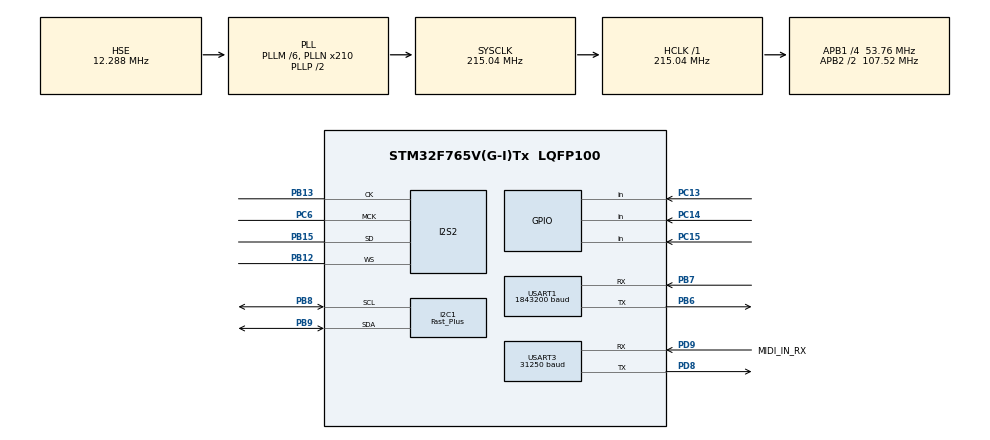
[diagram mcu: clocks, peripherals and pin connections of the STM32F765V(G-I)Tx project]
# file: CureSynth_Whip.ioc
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CORTEX_M7.CPU_DCache=Enabled
CORTEX_M7.CPU_ICache=Enabled
CORTEX_M7.FlashInterface=AXI_Enabled
CORTEX_M7.PREFETCH_ENABLE=0
Dma.I2C1_TX.0.Direction=DMA_MEMORY_TO_PERIPH
Dma.I2C1_TX.0.FIFOMode=DMA_FIFOMODE_ENABLE
Dma.I2C1_TX.0.FIFOThreshold=DMA_FIFO_THRESHOLD_HALFFULL
Dma.I2C1_TX.0.Instance=DMA1_Stream6
Dma.I2C1_TX.0.MemBurst=DMA_MBURST_SINGLE
Dma.I2C1_TX.0.MemDataAlignment=DMA_MDATAALIGN_BYTE
Dma.I2C1_TX.0.MemInc=DMA_MINC_ENABLE
Dma.I2C1_TX.0.Mode=DMA_NORMAL
Dma.I2C1_TX.0.PeriphBurst=DMA_PBURST_SINGLE
Dma.I2C1_TX.0.PeriphDataAlignment=DMA_PDATAALIGN_BYTE
Dma.I2C1_TX.0.PeriphInc=DMA_PINC_DISABLE
Dma.I2C1_TX.0.Priority=DMA_PRIORITY_MEDIUM
Dma.Request0=I2C1_TX
Dma.Request1=SPI2_TX
Dma.SPI2_TX.1.Direction=DMA_MEMORY_TO_PERIPH
Dma.SPI2_TX.1.FIFOMode=DMA_FIFOMODE_ENABLE
Dma.SPI2_TX.1.FIFOThreshold=DMA_FIFO_THRESHOLD_HALFFULL
Dma.SPI2_TX.1.Instance=DMA1_Stream4
Dma.SPI2_TX.1.MemBurst=DMA_MBURST_SINGLE
Dma.SPI2_TX.1.MemDataAlignment=DMA_MDATAALIGN_HALFWORD
Dma.SPI2_TX.1.MemInc=DMA_MINC_ENABLE
Dma.SPI2_TX.1.Mode=DMA_CIRCULAR
Dma.SPI2_TX.1.PeriphBurst=DMA_PBURST_SINGLE
Dma.SPI2_TX.1.PeriphDataAlignment=DMA_PDATAALIGN_HALFWORD
Dma.SPI2_TX.1.PeriphInc=DMA_PINC_DISABLE
Dma.SPI2_TX.1.Priority=DMA_PRIORITY_VERY_HIGH
I2C1.I2C_Speed_Mode=I2C_Fast_Plus
I2C1.Speed=400
I2C1.Timing=0x00201269
I2S2.AudioFreq=AudioFreqCustomValue
I2S2.AudioFreqCustom=32000
I2S2.CPOL=I2S_CPOL_HIGH
I2S2.DataFormat=I2S_DATAFORMAT_16B_EXTENDED
I2S2.ErrorAudioFreq=0.0 %
I2S2.FullDuplexMode=I2S_FULLDUPLEXMODE_DISABLE
I2S2.Instance=SPI$Index
I2S2.RealAudioFreq=32.0 KHz
I2S2.Standard=I2S_STANDARD_MSB
I2S2.VirtualMode=I2S_MODE_MASTER
Mcu.Family=STM32F7
Mcu.Name=STM32F765V(G-I)Tx
Mcu.Package=LQFP100
NVIC.DMA1_Stream4_IRQn=true\:0\:1\:false\:true\:true\:1
NVIC.DMA1_Stream6_IRQn=true\:2\:0\:true\:true\:true\:2
NVIC.I2C1_EV_IRQn=true\:2\:0\:true\:true\:true\:3
NVIC.PriorityGroup=NVIC_PRIORITYGROUP_3
NVIC.SPI2_IRQn=true\:0\:1\:true\:false\:true
NVIC.TIM7_IRQn=true\:0\:0\:true\:false\:true
NVIC.USART3_IRQn=true\:1\:0\:true\:false\:true
PA13.Mode=JTAG_5_pins
PA13.Signal=SYS_JTMS-SWDIO
PA14.Mode=JTAG_5_pins
PA14.Signal=SYS_JTCK-SWCLK
PA15.Mode=JTAG_5_pins
PA15.Signal=SYS_JTDI
PB12.Mode=Half_Duplex_Master
PB12.Signal=I2S2_WS
PB13.Mode=Half_Duplex_Master
PB13.Signal=I2S2_CK
PB15.Mode=Half_Duplex_Master
PB15.Signal=I2S2_SD
PB3.Mode=JTAG_5_pins
PB3.Signal=SYS_JTDO-SWO
PB4.Mode=JTAG_5_pins
PB4.Signal=SYS_JTRST
PB6.Mode=Asynchronous
PB6.Signal=USART1_TX
PB7.Mode=Asynchronous
PB7.Signal=USART1_RX
PB8.Mode=I2C
PB8.Signal=I2C1_SCL
PB9.Mode=I2C
PB9.Signal=I2C1_SDA
PC13.Signal=GPIO_Input
PC14/OSC32_IN.Signal=GPIO_Input
PC15/OSC32_OUT.Signal=GPIO_Input
PC6.Mode=Master_Clock_Activated
PC6.Signal=I2S2_MCK
PD8.Mode=Asynchronous
PD8.Signal=USART3_TX
PD9.GPIO_Label=MIDI_IN_RX
PD9.Mode=Asynchronous
PD9.Signal=USART3_RX
PH0/OSC_IN.Mode=HSE-External-Oscillator
PH0/OSC_IN.Signal=RCC_OSC_IN
PH1/OSC_OUT.Mode=HSE-External-Oscillator
PH1/OSC_OUT.Signal=RCC_OSC_OUT
ProjectManager.HeapSize=0x200
ProjectManager.StackSize=0x400
ProjectManager.TargetToolchain=SW4STM32
RCC.AHBFreq_Value=215040000
RCC.APB1CLKDivider=RCC_HCLK_DIV4
RCC.APB1Freq_Value=53760000
RCC.APB1TimFreq_Value=107520000
RCC.APB2CLKDivider=RCC_HCLK_DIV2
RCC.APB2Freq_Value=107520000
RCC.APB2TimFreq_Value=215040000
RCC.CortexFreq_Value=215040000
RCC.HCLKFreq_Value=215040000
RCC.HSE_VALUE=12288000
RCC.HSICalibrationValue=11
RCC.HSI_VALUE=16000000
RCC.LSE_VALUE=32768
RCC.PLLI2SN=144
RCC.PLLI2SR=3
RCC.PLLM=6
RCC.PLLN=210
RCC.PLLSAIN=96
RCC.PLLSAIQ=3
RCC.PLLSourceVirtual=RCC_PLLSOURCE_HSE
RCC.SYSCLKFreq_VALUE=215040000
RCC.SYSCLKSource=RCC_SYSCLKSOURCE_PLLCLK
RCC.USART3CLockSelection=RCC_USART3CLKSOURCE_HSI
RCC.USBFreq_Value=215040000
RCC.VCOOutputFreq_Value=430080000
TIM7.Period=55
TIM7.Prescaler=59
USART1.BaudRate=1843200
USART1.Mode=MODE_TX
USART1.VirtualMode-Asynchronous=VM_ASYNC
USART1.WordLength=WORDLENGTH_8B
USART3.BaudRate=31250
USART3.Mode=MODE_RX
USART3.VirtualMode-Asynchronous=VM_ASYNC
USART3.WordLength=WORDLENGTH_8B
VP_TIM7_VS_ClockSourceINT.Mode=Enable_Timer
board=CureSynth_Whip

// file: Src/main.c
/**
  ******************************************************************************
  * File Name          : main.c
  * Description        : Main program body
  ******************************************************************************
  ** This notice applies to any and all portions of this file
  * that are not between comment pairs USER CODE BEGIN and
  * USER CODE END. Other portions of this file, whether
  * inserted by the user or by software development tools
  * are owned by their respective copyright owners.
  *
  * COPYRIGHT(c) 2017 STMicroelectronics
  *
  * Redistribution and use in source and binary forms, with or without modification,
  * are permitted provided that the following conditions are met:
  *   1. Redistributions of source code must retain the above copyright notice,
  *      this list of conditions and the following disclaimer.
  *   2. Redistributions in binary form must reproduce the above copyright notice,
  *      this list of conditions and the following disclaimer in the documentation
  *      and/or other materials provided with the distribution.
  *   3. Neither the name of STMicroelectronics nor the names of its contributors
  *      may be used to endorse or promote products derived from this software
  *      without specific prior written permission.
  *
  * THIS SOFTWARE IS PROVIDED BY THE COPYRIGHT HOLDERS AND CONTRIBUTORS "AS IS"
  * AND ANY EXPRESS OR IMPLIED WARRANTIES, INCLUDING, BUT NOT LIMITED TO, THE
  * IMPLIED WARRANTIES OF MERCHANTABILITY AND FITNESS FOR A PARTICULAR PURPOSE ARE
  * DISCLAIMED. IN NO EVENT SHALL THE COPYRIGHT HOLDER OR CONTRIBUTORS BE LIABLE
  * FOR ANY DIRECT, INDIRECT, INCIDENTAL, SPECIAL, EXEMPLARY, OR CONSEQUENTIAL
  * DAMAGES (INCLUDING, BUT NOT LIMITED TO, PROCUREMENT OF SUBSTITUTE GOODS OR
  * SERVICES; LOSS OF USE, DATA, OR PROFITS; OR BUSINESS INTERRUPTION) HOWEVER
  * CAUSED AND ON ANY THEORY OF LIABILITY, WHETHER IN CONTRACT, STRICT LIABILITY,
  * OR TORT (INCLUDING NEGLIGENCE OR OTHERWISE) ARISING IN ANY WAY OUT OF THE USE
  * OF THIS SOFTWARE, EVEN IF ADVISED OF THE POSSIBILITY OF SUCH DAMAGE.
  *
  ******************************************************************************
  */
#include "main.h"
#include "stm32f7xx_hal.h"

/* USER CODE BEGIN Includes */

#include<stdio.h>

#include "curelib_inc/curemidi.h"
#include "curelib_inc/curemisc.h"
#include "curelib_inc/curedisplay.h"
#include "curelib_inc/curedbg.h"

/* USER CODE END Includes */

I2C_HandleTypeDef hi2c1;
DMA_HandleTypeDef hdma_i2c1_tx;

I2S_HandleTypeDef hi2s2;
DMA_HandleTypeDef hdma_spi2_tx;

TIM_HandleTypeDef htim7;

UART_HandleTypeDef huart1;
UART_HandleTypeDef huart3;

/* USER CODE BEGIN PV */
/* Private variables ---------------------------------------------------------*/

//for MIDI rx
uint8_t midi_recieved_buf;

//for audio output
int16_t audio_output[2];
uint16_t audio_output_i2s[2];
uint8_t i2s_transmitted=true;

//for output buffer
#define OUTPUT_BUFFERSIZE (1024) //need 2^n

typedef struct{

	uint16_t buffer[OUTPUT_BUFFERSIZE * 2];
	volatile uint16_t idx;
	uint8_t started_flag;
	int16_t err_distance;

}OutputBuffer;

OutputBuffer outbuf;

//for display
uint8_t display_update_flag = false;

/* USER CODE END PV */

void SystemClock_Config(void);
static void MX_GPIO_Init(void);
static void MX_DMA_Init(void);
static void MX_USART3_UART_Init(void);
static void MX_TIM7_Init(void);
static void MX_I2S2_Init(void);
static void MX_USART1_UART_Init(void);
static void MX_I2C1_Init(void);
static void MX_NVIC_Init(void);

/* USER CODE BEGIN PFP */
/* Private function prototypes -----------------------------------------------*/

/* USER CODE END PFP */

/* USER CODE BEGIN 0 */

void cureInit(){

	outbuf.idx = 0;
	outbuf.started_flag = false;
	outbuf.err_distance = 0;

	HAL_I2C_Master_Transmit(&hi2c1, 0x78, disp_settings, DISP_INITSIZE, 1000);
	HAL_I2C_Master_Transmit(&hi2c1, 0x78, (uint8_t *)disp_memory, 2096, 1000);

}

void cureErr()
{
	while(1);
}

void cureMonitoringBuffer()
{
	//monitoring output buffer.
	if(outbuf.err_distance < -1 * OUTPUT_BUFFERSIZE){ //if buffer under-run error occurs.
		outbuf.idx += OUTPUT_BUFFERSIZE;
		outbuf.err_distance += OUTPUT_BUFFERSIZE;
	}else if (OUTPUT_BUFFERSIZE < outbuf.err_distance){ //if buffer over-run error occurs.
		outbuf.idx -= OUTPUT_BUFFERSIZE;
		outbuf.err_distance -= OUTPUT_BUFFERSIZE;
	}
}

void cureUpdateDisplay()
{
	if(disp_transmitted == true){
		cureSynthUpdateDisplayData();
		displaySetData(display_data);
		HAL_I2C_Master_Transmit_DMA(&hi2c1, 0x78, (uint8_t *)disp_memory, 2096);
		disp_transmitted = false;
	}
}

void HAL_I2C_MasterTxCpltCallback(I2C_HandleTypeDef *hi2c){

	if(hi2c->Instance == I2C1)
	{
		disp_transmitted = true;
	}
}

void HAL_UART_RxCpltCallback(UART_HandleTypeDef *huart)
{
	if(huart->Instance == USART3)
	{

		GPIOC->ODR |= GPIO_PIN_9;
		cureMidiBufferEnqueue(&midi_recieved_buf);
		HAL_UART_Receive_IT(&huart3, &midi_recieved_buf,1);
	}
}

void HAL_UART_TxCpltCallback(UART_HandleTypeDef *huart){
	if(huart->Instance == USART1)
	{
	}
}

void HAL_UART_ErrorCallback(UART_HandleTypeDef *huart){

}

void HAL_TIM_PeriodElapsedCallback(TIM_HandleTypeDef *htim)
{

	if(htim->Instance == TIM7)
	{
#if CUREDBG_CPU_USAGE
		GPIOA->ODR |= GPIO_PIN_0;
#endif

		cureSynthGetOutput(audio_output);

		audio_output_i2s[0] = (uint16_t)(audio_output[0] + 32768);
		audio_output_i2s[1] = (uint16_t)(audio_output[1] + 32768);

		//store output buffer
		outbuf.buffer[outbuf.idx] = audio_output_i2s[0];
		outbuf.buffer[outbuf.idx+1] = audio_output_i2s[1];
		outbuf.idx+=2;
		outbuf.idx &= (OUTPUT_BUFFERSIZE*2 -1);
		outbuf.err_distance+=2;

		//set internal DAC.
//		HAL_DAC_SetValue(&hdac, DAC_CHANNEL_1, DAC_ALIGN_12B_R, (uint32_t)(audio_output_i2s[0] >> 4) );
//		HAL_DAC_SetValue(&hdac, DAC_CHANNEL_2, DAC_ALIGN_12B_R, (uint32_t)(audio_output_i2s[1] >> 4) );

#if CUREDBG_CPU_USAGE
		GPIOA->ODR &= ~GPIO_PIN_0;
#endif

	}

}

void HAL_I2S_TxHalfCpltCallback(I2S_HandleTypeDef *hi2s){

	if(hi2s->Instance == SPI2)
	{
		outbuf.err_distance -= OUTPUT_BUFFERSIZE;
	}
}

void HAL_I2S_TxCpltCallback(I2S_HandleTypeDef *hi2s){

	if(hi2s->Instance == SPI2)
	{
		outbuf.err_distance -= OUTPUT_BUFFERSIZE;
	}
}

/* USER CODE END 0 */

int main(void)
{

  /* Enable I-Cache-------------------------------------------------------------*/
  SCB_EnableICache();

  /* Enable D-Cache-------------------------------------------------------------*/
  SCB_EnableDCache();

  /* MCU Configuration----------------------------------------------------------*/

  /* Reset of all peripherals, Initializes the Flash interface and the Systick. */
  HAL_Init();

  /* USER CODE BEGIN Init */

	setbuf(stdout, NULL);

  /* USER CODE END Init */

  /* Configure the system clock */
  SystemClock_Config();

  /* Initialize all configured peripherals */
  MX_GPIO_Init();
  MX_DMA_Init();
  MX_USART3_UART_Init();
  MX_TIM7_Init();
  MX_I2S2_Init();
  MX_USART1_UART_Init();
  MX_I2C1_Init();

  /* Initialize interrupts */
  MX_NVIC_Init();

  /* USER CODE BEGIN 2 */

	//MIDI Initializations.
	if( FUNC_ERROR == cureMidiInit() ){
#if CUREDBG_UART
		printf("Initialization failed.");
#endif
		while(1);
	}

	//start internal DAC
//	HAL_DAC_Start(&hdac, DAC_CHANNEL_1);
//	HAL_DAC_Start(&hdac, DAC_CHANNEL_2);

	//start MIDI message reception with interrupt.
	HAL_UART_Receive_IT(&huart3, &midi_recieved_buf, 1);

	//start sound generate timer.
	HAL_TIM_Base_Start_IT(&htim7);

#if CUREDBG_UART
	printf("\r\n-----------------------------------------\r\n");
	printf("CureSynth System (F7 Edition) is running.\r\n");
	printf("-----------------------------------------\r\n");

	printf("char_size=%d\r\n",sizeof(char));
	printf("short_size=%d\r\n",sizeof(short));
	printf("int_size=%d\r\n",sizeof(int));
	printf("long_size=%d\r\n",sizeof(long));
	printf("longlong_size=%d\r\n",sizeof(long long));
	printf("-----------------------------------------\r\n\r\n");

#endif

	//start display data sending.

	displayInit();
	cureInit();

	while(1)
	{
		if((outbuf.idx) > ( OUTPUT_BUFFERSIZE ) ){
			HAL_I2S_Transmit_DMA(&hi2s2, outbuf.buffer, OUTPUT_BUFFERSIZE * 2);
			outbuf.err_distance = 0;
			break;
		}
	}

  /* USER CODE END 2 */

  /* Infinite loop */
	while (1)
	{

  /* USER CODE BEGIN 3 */

		cureMidiMain();

		//MIDI LED OFF
		GPIOC->ODR &= ~GPIO_PIN_9;

		cureMonitoringBuffer();

		if( cureMidiBufferIsEmpty() ){
			cureUpdateDisplay();
		}

	}
  /* USER CODE END 3 */

}

/** System Clock Configuration
*/
void SystemClock_Config(void)
{

  RCC_OscInitTypeDef RCC_OscInitStruct;
  RCC_ClkInitTypeDef RCC_ClkInitStruct;
  RCC_PeriphCLKInitTypeDef PeriphClkInitStruct;

    /**Configure the main internal regulator output voltage
    */
  __HAL_RCC_PWR_CLK_ENABLE();

  __HAL_PWR_VOLTAGESCALING_CONFIG(PWR_REGULATOR_VOLTAGE_SCALE1);

    /**Initializes the CPU, AHB and APB busses clocks
    */
  RCC_OscInitStruct.OscillatorType = RCC_OSCILLATORTYPE_HSI|RCC_OSCILLATORTYPE_HSE;
  RCC_OscInitStruct.HSEState = RCC_HSE_ON;
  RCC_OscInitStruct.HSIState = RCC_HSI_ON;
  RCC_OscInitStruct.HSICalibrationValue = 11;
  RCC_OscInitStruct.PLL.PLLState = RCC_PLL_ON;
  RCC_OscInitStruct.PLL.PLLSource = RCC_PLLSOURCE_HSE;
  RCC_OscInitStruct.PLL.PLLM = 6;
  RCC_OscInitStruct.PLL.PLLN = 210;
  RCC_OscInitStruct.PLL.PLLP = RCC_PLLP_DIV2;
  RCC_OscInitStruct.PLL.PLLQ = 2;
  if (HAL_RCC_OscConfig(&RCC_OscInitStruct) != HAL_OK)
  {
    _Error_Handler(__FILE__, __LINE__);
  }

    /**Activate the Over-Drive mode
    */
  if (HAL_PWREx_EnableOverDrive() != HAL_OK)
  {
    _Error_Handler(__FILE__, __LINE__);
  }

    /**Initializes the CPU, AHB and APB busses clocks
    */
  RCC_ClkInitStruct.ClockType = RCC_CLOCKTYPE_HCLK|RCC_CLOCKTYPE_SYSCLK
                              |RCC_CLOCKTYPE_PCLK1|RCC_CLOCKTYPE_PCLK2;
  RCC_ClkInitStruct.SYSCLKSource = RCC_SYSCLKSOURCE_PLLCLK;
  RCC_ClkInitStruct.AHBCLKDivider = RCC_SYSCLK_DIV1;
  RCC_ClkInitStruct.APB1CLKDivider = RCC_HCLK_DIV4;
  RCC_ClkInitStruct.APB2CLKDivider = RCC_HCLK_DIV2;

  if (HAL_RCC_ClockConfig(&RCC_ClkInitStruct, FLASH_LATENCY_7) != HAL_OK)
  {
    _Error_Handler(__FILE__, __LINE__);
  }

  PeriphClkInitStruct.PeriphClockSelection = RCC_PERIPHCLK_USART1|RCC_PERIPHCLK_USART3
                              |RCC_PERIPHCLK_I2C1|RCC_PERIPHCLK_I2S;
  PeriphClkInitStruct.PLLI2S.PLLI2SN = 144;
  PeriphClkInitStruct.PLLI2S.PLLI2SP = RCC_PLLP_DIV2;
  PeriphClkInitStruct.PLLI2S.PLLI2SR = 3;
  PeriphClkInitStruct.PLLI2S.PLLI2SQ = 2;
  PeriphClkInitStruct.PLLI2SDivQ = 1;
  PeriphClkInitStruct.I2sClockSelection = RCC_I2SCLKSOURCE_PLLI2S;
  PeriphClkInitStruct.Usart1ClockSelection = RCC_USART1CLKSOURCE_PCLK2;
  PeriphClkInitStruct.Usart3ClockSelection = RCC_USART3CLKSOURCE_HSI;
  PeriphClkInitStruct.I2c1ClockSelection = RCC_I2C1CLKSOURCE_PCLK1;
  if (HAL_RCCEx_PeriphCLKConfig(&PeriphClkInitStruct) != HAL_OK)
  {
    _Error_Handler(__FILE__, __LINE__);
  }

    /**Configure the Systick interrupt time
    */
  HAL_SYSTICK_Config(HAL_RCC_GetHCLKFreq()/1000);

    /**Configure the Systick
    */
  HAL_SYSTICK_CLKSourceConfig(SYSTICK_CLKSOURCE_HCLK);

  /* SysTick_IRQn interrupt configuration */
  HAL_NVIC_SetPriority(SysTick_IRQn, 0, 0);
}

/** NVIC Configuration
*/
static void MX_NVIC_Init(void)
{
  /* DMA1_Stream4_IRQn interrupt configuration */
  HAL_NVIC_SetPriority(DMA1_Stream4_IRQn, 0, 1);
  HAL_NVIC_EnableIRQ(DMA1_Stream4_IRQn);
  /* DMA1_Stream6_IRQn interrupt configuration */
  HAL_NVIC_SetPriority(DMA1_Stream6_IRQn, 2, 0);
  HAL_NVIC_EnableIRQ(DMA1_Stream6_IRQn);
  /* I2C1_EV_IRQn interrupt configuration */
  HAL_NVIC_SetPriority(I2C1_EV_IRQn, 2, 0);
  HAL_NVIC_EnableIRQ(I2C1_EV_IRQn);
}

/* I2C1 init function */
static void MX_I2C1_Init(void)
{

  hi2c1.Instance = I2C1;
  hi2c1.Init.Timing = 0x00201269;
  hi2c1.Init.OwnAddress1 = 0;
  hi2c1.Init.AddressingMode = I2C_ADDRESSINGMODE_7BIT;
  hi2c1.Init.DualAddressMode = I2C_DUALADDRESS_DISABLE;
  hi2c1.Init.OwnAddress2 = 0;
  hi2c1.Init.OwnAddress2Masks = I2C_OA2_NOMASK;
  hi2c1.Init.GeneralCallMode = I2C_GENERALCALL_DISABLE;
  hi2c1.Init.NoStretchMode = I2C_NOSTRETCH_DISABLE;
  if (HAL_I2C_Init(&hi2c1) != HAL_OK)
  {
    _Error_Handler(__FILE__, __LINE__);
  }

    /**Configure Analogue filter
    */
  if (HAL_I2CEx_ConfigAnalogFilter(&hi2c1, I2C_ANALOGFILTER_ENABLE) != HAL_OK)
  {
    _Error_Handler(__FILE__, __LINE__);
  }

    /**Configure Digital filter
    */
  if (HAL_I2CEx_ConfigDigitalFilter(&hi2c1, 0) != HAL_OK)
  {
    _Error_Handler(__FILE__, __LINE__);
  }

    /**I2C Enable Fast Mode Plus
    */
  HAL_I2CEx_EnableFastModePlus(I2C_FASTMODEPLUS_I2C1);

}

/* I2S2 init function */
static void MX_I2S2_Init(void)
{

  hi2s2.Instance = SPI2;
  hi2s2.Init.Mode = I2S_MODE_MASTER_TX;
  hi2s2.Init.Standard = I2S_STANDARD_MSB;
  hi2s2.Init.DataFormat = I2S_DATAFORMAT_16B_EXTENDED;
  hi2s2.Init.MCLKOutput = I2S_MCLKOUTPUT_ENABLE;
  hi2s2.Init.AudioFreq = 32000;
  hi2s2.Init.CPOL = I2S_CPOL_HIGH;
  hi2s2.Init.ClockSource = I2S_CLOCK_PLL;
  if (HAL_I2S_Init(&hi2s2) != HAL_OK)
  {
    _Error_Handler(__FILE__, __LINE__);
  }

}

/* TIM7 init function */
static void MX_TIM7_Init(void)
{

  TIM_MasterConfigTypeDef sMasterConfig;

  htim7.Instance = TIM7;
  htim7.Init.Prescaler = 59;
  htim7.Init.CounterMode = TIM_COUNTERMODE_UP;
  htim7.Init.Period = 55;
  htim7.Init.AutoReloadPreload = TIM_AUTORELOAD_PRELOAD_DISABLE;
  if (HAL_TIM_Base_Init(&htim7) != HAL_OK)
  {
    _Error_Handler(__FILE__, __LINE__);
  }

  sMasterConfig.MasterOutputTrigger = TIM_TRGO_RESET;
  sMasterConfig.MasterSlaveMode = TIM_MASTERSLAVEMODE_DISABLE;
  if (HAL_TIMEx_MasterConfigSynchronization(&htim7, &sMasterConfig) != HAL_OK)
  {
    _Error_Handler(__FILE__, __LINE__);
  }

}

/* USART1 init function */
static void MX_USART1_UART_Init(void)
{

  huart1.Instance = USART1;
  huart1.Init.BaudRate = 1843200;
  huart1.Init.WordLength = UART_WORDLENGTH_8B;
  huart1.Init.StopBits = UART_STOPBITS_1;
  huart1.Init.Parity = UART_PARITY_NONE;
  huart1.Init.Mode = UART_MODE_TX;
  huart1.Init.HwFlowCtl = UART_HWCONTROL_NONE;
  huart1.Init.OverSampling = UART_OVERSAMPLING_16;
  huart1.Init.OneBitSampling = UART_ONE_BIT_SAMPLE_DISABLE;
  huart1.AdvancedInit.AdvFeatureInit = UART_ADVFEATURE_NO_INIT;
  if (HAL_UART_Init(&huart1) != HAL_OK)
  {
    _Error_Handler(__FILE__, __LINE__);
  }

}

/* USART3 init function */
static void MX_USART3_UART_Init(void)
{

  huart3.Instance = USART3;
  huart3.Init.BaudRate = 31250;
  huart3.Init.WordLength = UART_WORDLENGTH_8B;
  huart3.Init.StopBits = UART_STOPBITS_1;
  huart3.Init.Parity = UART_PARITY_NONE;
  huart3.Init.Mode = UART_MODE_RX;
  huart3.Init.HwFlowCtl = UART_HWCONTROL_NONE;
  huart3.Init.OverSampling = UART_OVERSAMPLING_16;
  huart3.Init.OneBitSampling = UART_ONE_BIT_SAMPLE_DISABLE;
  huart3.AdvancedInit.AdvFeatureInit = UART_ADVFEATURE_NO_INIT;
  if (HAL_UART_Init(&huart3) != HAL_OK)
  {
    _Error_Handler(__FILE__, __LINE__);
  }

}

static void MX_DMA_Init(void)
{
  /* DMA controller clock enable */
  __HAL_RCC_DMA1_CLK_ENABLE();

}

/** Configure pins as
        * Analog
        * Input
        * Output
        * EVENT_OUT
        * EXTI
*/
static void MX_GPIO_Init(void)
{

  GPIO_InitTypeDef GPIO_InitStruct;

  /* GPIO Ports Clock Enable */
  __HAL_RCC_GPIOC_CLK_ENABLE();
  __HAL_RCC_GPIOH_CLK_ENABLE();
  __HAL_RCC_GPIOB_CLK_ENABLE();
  __HAL_RCC_GPIOD_CLK_ENABLE();
  __HAL_RCC_GPIOA_CLK_ENABLE();

  /*Configure GPIO pins : PC13 PC14 PC15 */
  GPIO_InitStruct.Pin = GPIO_PIN_13|GPIO_PIN_14|GPIO_PIN_15;
  GPIO_InitStruct.Mode = GPIO_MODE_INPUT;
  GPIO_InitStruct.Pull = GPIO_NOPULL;
  HAL_GPIO_Init(GPIOC, &GPIO_InitStruct);

}

void _Error_Handler(char * file, int line)
{
  /* USER CODE BEGIN Error_Handler_Debug */
	/* User can add his own implementation to report the HAL error return state */
	while(1)
	{
		GPIOA->ODR |= GPIO_PIN_10;
	}
  /* USER CODE END Error_Handler_Debug */
}

/************************ (C) COPYRIGHT STMicroelectronics *****END OF FILE****/
